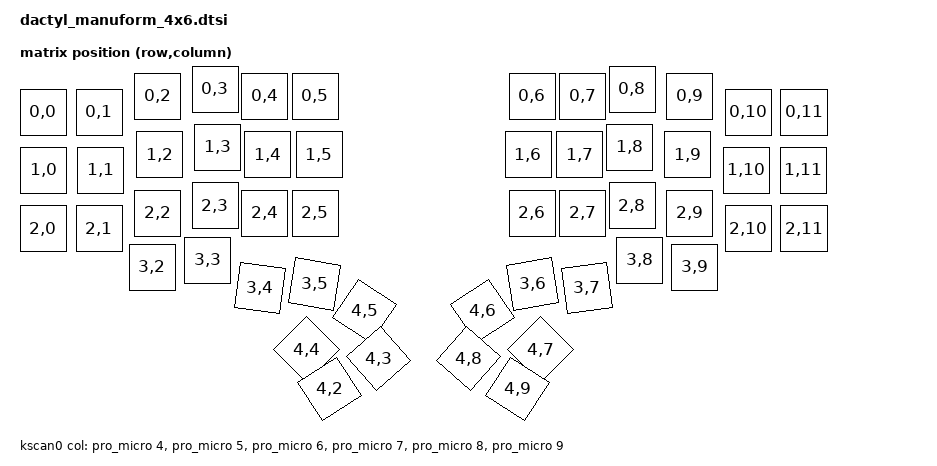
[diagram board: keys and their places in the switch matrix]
#include <dt-bindings/zmk/matrix_transform.h>
#include <physical_layouts.dtsi>

/ {
    chosen {
        zmk,kscan = &kscan0;
        zmk,physical-layout = &physical_layout_0;
    };

    // Physical layout for ZMK Studio.
    // Units: 1/100 key-unit (100 = 19.05 mm). Rotation: CW-positive, 1/100 deg.
    //
    // Positions were extracted from the actual generated OpenSCAD plate
    // (dactyl-keyboard 4x6 STANDARD DEFAULT config), not from eyeballing.
    // Left-half key centers come straight from parsing the SCAD's per-plate
    // transform stack; right half is mirrored around x = 100 mm.
    //
    // Ordering matches the matrix_transform positions 0..51 below:
    //   rows 0..2:  LEFT c0..5, then RIGHT c6..11 (row-major)
    //   row 3 ext:  LEFT c2,c3 | RIGHT c8,c9
    //   row 3 top:  LEFT c4,c5 | RIGHT c6,c7   (top thumb pair)
    //   row 4 mid:  LEFT c4,c5 | RIGHT c6,c7   (mid thumb pair)
    //   row 4 bot:  LEFT c2,c3 | RIGHT c8,c9   (bot thumb pair)
    physical_layout_0: physical_layout_0 {
        compatible = "zmk,physical-layout";
        display-name = "Oponn (dactyl-manuform 4x6)";
        kscan = <&kscan0>;
        transform = <&default_transform>;

        keys
            //                                W    H       X       Y      ROT       RX      RY
            = <&key_physical_attrs          100  100   (-286)  (-135)       0    (-236)   (-85)>   // pos 0 RC(0,0) L
            , <&key_physical_attrs          100  100   (-174)  (-135)       0    (-124)   (-85)>   // pos 1 RC(0,1) L
            , <&key_physical_attrs          100  100    (-57)  (-167)       0      (-7)  (-117)>   // pos 2 RC(0,2) L
            , <&key_physical_attrs          100  100       58  (-181)       0       108   (-131)>   // pos 3 RC(0,3) L
            , <&key_physical_attrs          100  100      157  (-167)       0       207   (-117)>   // pos 4 RC(0,4) L
            , <&key_physical_attrs          100  100      258  (-167)       0       308   (-117)>   // pos 5 RC(0,5) L
            , <&key_physical_attrs          100  100      692  (-167)       0       742   (-117)>   // pos 6 RC(0,6) R
            , <&key_physical_attrs          100  100      793  (-167)       0       843   (-117)>   // pos 7 RC(0,7) R
            , <&key_physical_attrs          100  100      892  (-181)       0       942   (-131)>   // pos 8 RC(0,8) R
            , <&key_physical_attrs          100  100     1007  (-167)       0      1057   (-117)>   // pos 9 RC(0,9) R
            , <&key_physical_attrs          100  100     1124  (-135)       0      1174    (-85)>   // pos10 RC(0,10) R
            , <&key_physical_attrs          100  100     1236  (-135)       0      1286    (-85)>   // pos11 RC(0,11) R
            , <&key_physical_attrs          100  100    (-285)   (-19)      0     (-235)      31>   // pos12 RC(1,0) L
            , <&key_physical_attrs          100  100    (-171)   (-19)      0     (-121)      31>   // pos13 RC(1,1) L
            , <&key_physical_attrs          100  100     (-53)   (-50)      0       (-3)       0>   // pos14 RC(1,2) L
            , <&key_physical_attrs          100  100        63   (-65)      0        113    (-15)>   // pos15 RC(1,3) L
            , <&key_physical_attrs          100  100       163   (-50)      0        213       0>   // pos16 RC(1,4) L
            , <&key_physical_attrs          100  100       266   (-50)      0        316       0>   // pos17 RC(1,5) L
            , <&key_physical_attrs          100  100       684   (-50)      0        734       0>   // pos18 RC(1,6) R
            , <&key_physical_attrs          100  100       787   (-50)      0        837       0>   // pos19 RC(1,7) R
            , <&key_physical_attrs          100  100       887   (-65)      0        937    (-15)>   // pos20 RC(1,8) R
            , <&key_physical_attrs          100  100      1003   (-50)      0       1053       0>   // pos21 RC(1,9) R
            , <&key_physical_attrs          100  100      1121   (-19)      0       1171      31>   // pos22 RC(1,10) R
            , <&key_physical_attrs          100  100      1235   (-19)      0       1285      31>   // pos23 RC(1,11) R
            , <&key_physical_attrs          100  100    (-286)      98      0     (-236)     148>   // pos24 RC(2,0) L
            , <&key_physical_attrs          100  100    (-174)      98      0     (-124)     148>   // pos25 RC(2,1) L
            , <&key_physical_attrs          100  100     (-57)      67      0       (-7)     117>   // pos26 RC(2,2) L
            , <&key_physical_attrs          100  100        58      52      0        108     102>   // pos27 RC(2,3) L
            , <&key_physical_attrs          100  100       157      67      0        207     117>   // pos28 RC(2,4) L
            , <&key_physical_attrs          100  100       258      67      0        308     117>   // pos29 RC(2,5) L
            , <&key_physical_attrs          100  100       692      67      0        742     117>   // pos30 RC(2,6) R
            , <&key_physical_attrs          100  100       793      67      0        843     117>   // pos31 RC(2,7) R
            , <&key_physical_attrs          100  100       892      52      0        942     102>   // pos32 RC(2,8) R
            , <&key_physical_attrs          100  100      1007      67      0       1057     117>   // pos33 RC(2,9) R
            , <&key_physical_attrs          100  100      1124      98      0       1174     148>   // pos34 RC(2,10) R
            , <&key_physical_attrs          100  100      1236      98      0       1286     148>   // pos35 RC(2,11) R
            , <&key_physical_attrs          100  100     (-68)     175      0      (-18)     225>   // pos36 RC(3,2) L (ext ring)
            , <&key_physical_attrs          100  100        43     161      0         93     211>   // pos37 RC(3,3) L (ext mid)
            , <&key_physical_attrs          100  100       907     161      0        957     211>   // pos38 RC(3,8) R (ext mid)
            , <&key_physical_attrs          100  100      1017     175      0       1067     225>   // pos39 RC(3,9) R (ext ring)
            , <&key_physical_attrs          100  100       148     217     759       198     267>   // pos40 RC(3,4) L (top thumb outer)
            , <&key_physical_attrs          100  100       257     209  (-8047)      307     259>   // pos41 RC(3,5) L (top thumb inner)
            , <&key_physical_attrs          100  100       693     209    8047       743     259>   // pos42 RC(3,6) R (top thumb inner)
            , <&key_physical_attrs          100  100       802     217   (-759)      852     267>   // pos43 RC(3,7) R (top thumb outer)
            , <&key_physical_attrs          100  100       241     340  (-4528)      291     390>   // pos44 RC(4,4) L (mid outer)
            , <&key_physical_attrs          100  100       357     263  (-5631)      407     313>   // pos45 RC(4,5) L (mid inner)
            , <&key_physical_attrs          100  100       593     263    5631       643     313>   // pos46 RC(4,6) R (mid inner)
            , <&key_physical_attrs          100  100       709     340    4528       759     390>   // pos47 RC(4,7) R (mid outer)
            , <&key_physical_attrs          100  100       287     419  (-3317)      337     469>   // pos48 RC(4,2) L (bot outer)
            , <&key_physical_attrs          100  100       385     358  (-4207)      435     408>   // pos49 RC(4,3) L (bot inner)
            , <&key_physical_attrs          100  100       565     358    4207       615     408>   // pos50 RC(4,8) R (bot inner)
            , <&key_physical_attrs          100  100       663     419    3317       713     469>   // pos51 RC(4,9) R (bot outer)
            ;
    };

    default_transform: keymap_transform_0 {
        compatible = "zmk,matrix-transform";
        columns = <12>;
        rows = <5>;
        // Left half: cols 0-5 (D4..D9 outer-pinky to inner-index)
        // Right half: cols 6-11 (right's D4..D9 offset by 6 in combined space)
        //
        // Positions are ordered PHYSICALLY, not by matrix scan, so keymap
        // bindings can be written in a shape that mirrors the actual key
        // positions on the board:
        //
        //   positions 0..35   alphabet rows 0-2 (row-major)
        //   positions 36..39  ext keys — the two per half on the thumb-row
        //                     wiring (D15) that sit under middle/ring finger
        //                     rather than on the thumb pod
        //   positions 40..43  top thumb pair per half — the easy sweep-friendly
        //                     top of the thumb pod
        //   positions 44..47  mid thumb pair per half — RC(4,5)/(4,6) are
        //                     sweep-friendly
        //   positions 48..51  bot thumb pair per half — further-reach keys
        //
        // Per-half physical thumb pod (left half shown; right is mirrored):
        //     RC(3,4) RC(3,5)         <- top (easy, both sweep)
        //         RC(4,4) RC(4,5)     <- mid (RC(4,5) sweep)
        //         RC(4,2) RC(4,3)     <- bot (further reach)
        map = <
            RC(0,0) RC(0,1) RC(0,2) RC(0,3) RC(0,4) RC(0,5)   RC(0,6) RC(0,7) RC(0,8) RC(0,9) RC(0,10) RC(0,11)
            RC(1,0) RC(1,1) RC(1,2) RC(1,3) RC(1,4) RC(1,5)   RC(1,6) RC(1,7) RC(1,8) RC(1,9) RC(1,10) RC(1,11)
            RC(2,0) RC(2,1) RC(2,2) RC(2,3) RC(2,4) RC(2,5)   RC(2,6) RC(2,7) RC(2,8) RC(2,9) RC(2,10) RC(2,11)

                            RC(3,2) RC(3,3)                                                                    RC(3,8) RC(3,9)

                                    RC(3,4) RC(3,5)                                    RC(3,6) RC(3,7)
                                            RC(4,4) RC(4,5)                    RC(4,6) RC(4,7)
                                            RC(4,2) RC(4,3)                    RC(4,8) RC(4,9)
        >;
    };

    // Base kscan node. Cols are identical on both halves.
    // Rows are added per-half in the *_left.overlay / *_right.overlay files.
    kscan0: kscan {
        compatible = "zmk,kscan-gpio-matrix";
        label = "KSCAN";
        diode-direction = "col2row";

        // Columns, left-to-right on the left half (pinky-outer -> index-inner)
        //   D4  pinky outer
        //   D5  pinky
        //   D6  ring
        //   D7  middle
        //   D8  index
        //   D9  index inner
        col-gpios
            = <&pro_micro 4 GPIO_ACTIVE_HIGH>
            , <&pro_micro 5 GPIO_ACTIVE_HIGH>
            , <&pro_micro 6 GPIO_ACTIVE_HIGH>
            , <&pro_micro 7 GPIO_ACTIVE_HIGH>
            , <&pro_micro 8 GPIO_ACTIVE_HIGH>
            , <&pro_micro 9 GPIO_ACTIVE_HIGH>
            ;
    };
};
